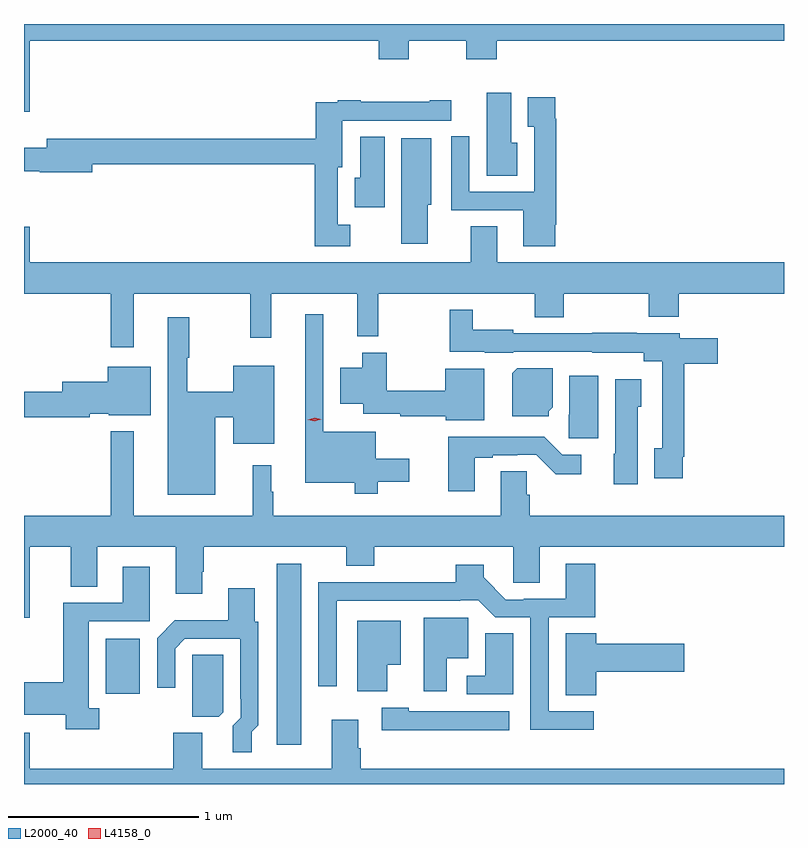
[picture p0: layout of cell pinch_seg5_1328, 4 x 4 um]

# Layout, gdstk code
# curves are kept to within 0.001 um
import gdstk
lib = gdstk.Library(unit=1e-6, precision=1e-09)
def R(c, l, rs):  # rectangles x0, y0, x1, y1
    for r in rs: c.add(gdstk.rectangle(r[:2], r[2:], *l))
def P(c, l, *ps):  # polygons
    for p in ps: c.add(gdstk.Polygon(p, *l))
L2000_40 = (2000, 40)
L4158_0 = (4158, 0)

pinch_seg5_1328 = lib.new_cell('pinch_seg5_1328')
R(pinch_seg5_1328, L2000_40, [(250.388,883.689,250.519,884.641), (249.488,883.958,249.667,884.248)])
P(pinch_seg5_1328, L2000_40, [(249.088,887.396),(250.925,887.396),(250.925,887.297),(251.085,887.297),(251.085,887.396),(251.386,887.396),(251.386,887.297),(251.546,887.297),(251.546,887.396),(253.059,887.396),(253.059,887.483),(249.059,887.483),(249.059,887.022),(249.088,887.022)],
  [(251.656,886.858),(251.623,886.858),(251.623,887.122),(251.495,887.122),(251.495,886.684),(251.656,886.684)],
  [(251.855,886.426),(251.861,886.426),(251.861,886.985),(251.854,886.985),(251.854,887.098),(251.711,887.098),(251.711,886.942),(251.745,886.942),(251.745,886.599),(251.403,886.599),(251.403,886.893),(251.307,886.893),(251.307,886.503),(251.687,886.503),(251.687,886.314),(251.855,886.314)],
  [(250.777,886.426),(250.711,886.426),(250.711,886.728),(250.735,886.728),(250.735,886.974),(251.307,886.974),(251.307,887.083),(251.195,887.083),(251.195,887.073),(250.831,887.073),(250.831,887.083),(250.711,887.083),(250.711,887.07),(250.595,887.07),(250.595,886.88),(249.179,886.88),(249.179,886.831),(249.059,886.831),(249.059,886.709),(249.142,886.709),(249.142,886.702),(249.418,886.702),(249.418,886.744),(250.59,886.744),(250.59,886.313),(250.777,886.313)],
  [(250.957,886.889),(250.829,886.889),(250.829,886.674),(250.799,886.674),(250.799,886.518),(250.957,886.518)],
  [(251.185,886.533),(251.203,886.533),(251.203,886.882),(251.045,886.882),(251.045,886.326),(251.185,886.326)],
  [(249.637,886.064),(250.251,886.064),(250.251,885.831),(250.361,885.831),(250.361,886.064),(250.814,886.064),(250.814,885.839),(250.924,885.839),(250.924,886.064),(251.746,886.064),(251.746,885.94),(251.901,885.94),(251.901,886.064),(252.346,886.064),(252.346,885.941),(252.506,885.941),(252.506,886.064),(253.059,886.064),(253.059,886.228),(251.551,886.228),(251.551,886.418),(251.411,886.418),(251.411,886.228),(249.088,886.228),(249.088,886.417),(249.059,886.417),(249.059,886.064),(249.516,886.064),(249.516,885.783),(249.637,885.783)],
  [(252.526,885.205),(252.533,885.205),(252.533,885.695),(252.709,885.695),(252.709,885.829),(252.51,885.829),(252.51,885.855),(252.283,885.855),(252.283,885.857),(252.051,885.857),(252.051,885.855),(251.634,885.855),(251.634,885.874),(251.422,885.874),(251.422,885.979),(251.301,885.979),(251.301,885.758),(251.484,885.758),(251.484,885.752),(251.634,885.752),(251.634,885.759),(252.051,885.759),(252.051,885.752),(252.32,885.752),(252.32,885.707),(252.417,885.707),(252.417,885.249),(252.377,885.249),(252.377,885.093),(252.526,885.093)],
  [(250.921,885.074),(251.086,885.074),(251.086,885.196),(250.909,885.196),(250.909,885.337),(250.635,885.337),(250.635,885.955),(250.538,885.955),(250.538,885.068),(250.8,885.068),(250.8,885.011),(250.921,885.011)],
  [(250.066,885.412),(250.16,885.412),(250.16,885.275),(250.375,885.275),(250.375,885.685),(250.16,885.685),(250.16,885.548),(249.919,885.548),(249.919,885.726),(249.929,885.726),(249.929,885.94),(249.815,885.94),(249.815,885.005),(250.066,885.005)],
  [(251.482,885.668),(251.276,885.668),(251.276,885.554),(250.968,885.554),(250.968,885.754),(250.838,885.754),(250.838,885.673),(250.724,885.673),(250.724,885.485),(250.844,885.485),(250.844,885.431),(251.04,885.431),(251.04,885.419),(251.28,885.419),(251.28,885.398),(251.482,885.398)],
  [(249.404,885.431),(249.504,885.431),(249.504,885.425),(249.727,885.425),(249.727,885.679),(249.5,885.679),(249.5,885.601),(249.26,885.601),(249.26,885.548),(249.059,885.548),(249.059,885.412),(249.404,885.412)],
  [(251.82,885.444),(251.842,885.466),(251.842,885.67),(251.656,885.67),(251.63,885.644),(251.63,885.419),(251.82,885.419)],
  [(252.082,885.631),(251.93,885.631),(251.93,885.426),(251.926,885.426),(251.926,885.303),(252.082,885.303)],
  [(252.289,885.468),(252.307,885.468),(252.307,885.613),(252.17,885.613),(252.17,885.222),(252.164,885.222),(252.164,885.06),(252.289,885.06)],
  [(249.088,884.732),(249.305,884.732),(249.305,884.521),(249.445,884.521),(249.445,884.732),(249.857,884.732),(249.857,884.484),(249.997,884.484),(249.997,884.599),(250.005,884.599),(250.005,884.732),(250.754,884.732),(250.754,884.633),(250.902,884.633),(250.902,884.732),(251.634,884.732),(251.634,884.542),(251.773,884.542),(251.773,884.732),(253.059,884.732),(253.059,884.896),(251.72,884.896),(251.72,885.006),(251.706,885.006),(251.706,885.128),(251.567,885.128),(251.567,884.896),(250.372,884.896),(250.372,885.02),(250.36,885.02),(250.36,885.16),(250.262,885.16),(250.262,884.896),(249.637,884.896),(249.637,885.34),(249.516,885.34),(249.516,884.896),(249.059,884.896),(249.059,884.358),(249.088,884.358)],
  [(251.431,885.201),(251.527,885.201),(251.527,885.213),(251.654,885.213),(251.654,885.216),(251.754,885.216),(251.857,885.114),(251.992,885.114),(251.992,885.216),(251.892,885.216),(251.798,885.31),(251.291,885.31),(251.291,885.024),(251.431,885.024)],
  [(252.058,883.866),(251.82,883.866),(251.82,884.361),(252.065,884.361),(252.065,884.641),(251.909,884.641),(251.909,884.457),(251.689,884.457),(251.689,884.454),(251.595,884.454),(251.479,884.57),(251.479,884.638),(251.332,884.638),(251.332,884.546),(250.99,884.546),(250.99,884.544),(250.608,884.544),(250.608,883.998),(250.704,883.998),(250.705,884.448),(251.354,884.448),(251.354,884.451),(251.45,884.451),(251.54,884.361),(251.724,884.361),(251.724,883.769),(252.058,883.769)],
  [(249.454,883.882),(249.4,883.882),(249.4,884.34),(249.721,884.34),(249.721,884.626),(249.578,884.626),(249.578,884.436),(249.266,884.436),(249.266,884.018),(249.059,884.018),(249.059,883.847),(249.278,883.847),(249.278,883.772),(249.454,883.772)],
  [(250.258,883.758),(250.293,883.793),(250.293,884.337),(250.273,884.337),(250.273,884.512),(250.133,884.512),(250.133,884.344),(249.853,884.344),(249.759,884.25),(249.759,883.989),(249.855,883.989),(249.855,884.196),(249.906,884.247),(250.197,884.247),(250.197,883.933),(250.2,883.933),(250.2,883.833),(250.157,883.79),(250.157,883.65),(250.258,883.65)],
  [(251.284,884.144),(251.398,884.144),(251.398,884.359),(251.162,884.359),(251.162,883.971),(251.284,883.971)],
  [(250.972,884.111),(251.041,884.111),(251.041,884.341),(250.814,884.341),(250.814,883.97),(250.972,883.97)],
  [(252.07,884.075),(252.535,884.075),(252.535,884.222),(252.07,884.222),(252.07,884.276),(251.909,884.276),(251.909,883.951),(252.07,883.951)],
  [(251.635,884.276),(251.486,884.276),(251.486,884.052),(251.388,884.052),(251.388,883.956),(251.635,883.956)],
  [(250.107,883.86),(250.107,884.162),(249.945,884.162),(249.945,884.051),(249.944,884.051),(249.944,883.837),(250.083,883.837)],
  [(251.614,883.867),(251.085,883.867),(251.085,883.885),(250.941,883.885),(250.941,883.766),(251.614,883.766)],
  [(253.059,883.564),(250.832,883.564),(250.832,883.67),(250.819,883.67),(250.819,883.822),(250.679,883.822),(250.679,883.564),(249.997,883.564),(249.997,883.752),(249.845,883.752),(249.845,883.564),(249.088,883.564),(249.088,883.753),(249.059,883.753),(249.059,883.483),(253.059,883.483)])
P(pinch_seg5_1328, L4158_0, [(250.589,885.391),(250.553,885.399),(250.553,885.399),(250.553,885.4),(250.588,885.411),(250.624,885.402),(250.624,885.402),(250.624,885.402)])

lib.write_gds('pinch_seg5_1328.gds')
